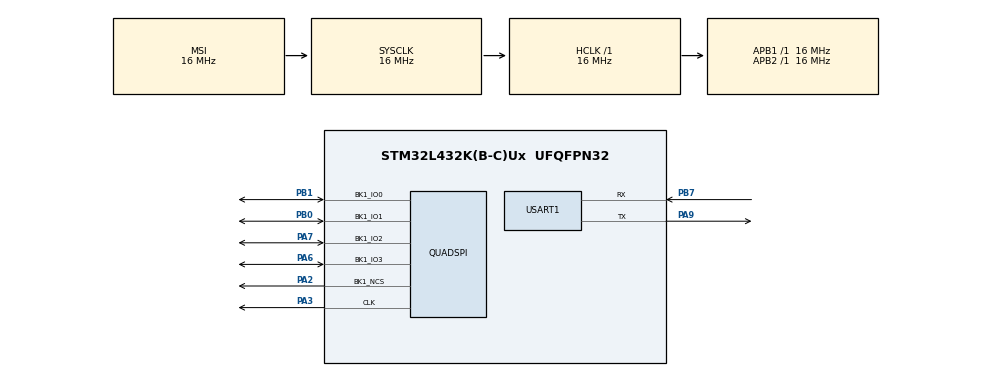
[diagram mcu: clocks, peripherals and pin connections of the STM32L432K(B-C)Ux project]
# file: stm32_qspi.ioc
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Mcu.Family=STM32L4
Mcu.Name=STM32L432K(B-C)Ux
Mcu.Package=UFQFPN32
NVIC.PriorityGroup=NVIC_PRIORITYGROUP_4
NVIC.USART1_IRQn=true\:0\:0\:false\:false\:true\:true\:true
PA2.Mode=Single Bank 1
PA2.Signal=QUADSPI_BK1_NCS
PA3.Mode=Single Bank 1
PA3.Signal=QUADSPI_CLK
PA6.Mode=Single Bank 1
PA6.Signal=QUADSPI_BK1_IO3
PA7.Mode=Single Bank 1
PA7.Signal=QUADSPI_BK1_IO2
PA9.Mode=Asynchronous
PA9.Signal=USART1_TX
PB0.Mode=Single Bank 1
PB0.Signal=QUADSPI_BK1_IO1
PB1.Mode=Single Bank 1
PB1.Signal=QUADSPI_BK1_IO0
PB7.Mode=Asynchronous
PB7.Signal=USART1_RX
PC14-OSC32_IN\ (PC14).Mode=LSE-External-Oscillator
PC14-OSC32_IN\ (PC14).Signal=RCC_OSC32_IN
PC15-OSC32_OUT\ (PC15).Mode=LSE-External-Oscillator
PC15-OSC32_OUT\ (PC15).Signal=RCC_OSC32_OUT
ProjectManager.HeapSize=0x200
ProjectManager.StackSize=0x400
ProjectManager.TargetToolchain=TrueSTUDIO
QUADSPI.ChipSelectHighTime=QSPI_CS_HIGH_TIME_2_CYCLE
QUADSPI.ClockPrescaler=1
QUADSPI.FifoThreshold=4
QUADSPI.FlashSize=23
RCC.ADCFreq_Value=64000000
RCC.AHBFreq_Value=16000000
RCC.APB1Freq_Value=16000000
RCC.APB1TimFreq_Value=16000000
RCC.APB2Freq_Value=16000000
RCC.APB2TimFreq_Value=16000000
RCC.CortexFreq_Value=16000000
RCC.HCLKFreq_Value=16000000
RCC.HSE_VALUE=8000000
RCC.HSI48_VALUE=48000000
RCC.HSI_VALUE=16000000
RCC.MSIClockRange=RCC_MSIRANGE_8
RCC.MSI_VALUE=16000000
RCC.PLLSourceVirtual=RCC_PLLSOURCE_HSI
RCC.SYSCLKFreq_VALUE=16000000
RCC.USBFreq_Value=64000000
RCC.VCOOutputFreq_Value=128000000
USART1.VirtualMode-Asynchronous=VM_ASYNC
board=custom

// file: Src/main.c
/* USER CODE BEGIN Header */
/**
  ******************************************************************************
  * @file           : main.c
  * @brief          : Main program body
  ******************************************************************************
  * @attention
  *
  * <h2><center>&copy; Copyright (c) 2020 STMicroelectronics.
  * All rights reserved.</center></h2>
  *
  * This software component is licensed by ST under BSD 3-Clause license,
  * the "License"; You may not use this file except in compliance with the
  * License. You may obtain a copy of the License at:
  *                        opensource.org/licenses/BSD-3-Clause
  *
  ******************************************************************************
  */
/* USER CODE END Header */

#include "main.h"

/* USER CODE BEGIN Includes */
#include "stdio.h"
#include "w25qxx.h"
#include "string.h"
#include "gm25qxx.h"
/* USER CODE END Includes */

QSPI_HandleTypeDef hqspi;

UART_HandleTypeDef huart1;

/* USER CODE BEGIN PV */
QSPI_CommandTypeDef s_command;
uint8_t pData[3];

#define QSPI_TEST_DATA_SIZE 0x100
uint8_t wData[QSPI_TEST_DATA_SIZE];
uint8_t rData[QSPI_TEST_DATA_SIZE];
/* USER CODE END PV */

void SystemClock_Config(void);
static void MX_GPIO_Init(void);
static void MX_USART1_UART_Init(void);
static void MX_QUADSPI_Init(void);

/* USER CODE BEGIN 0 */

#ifdef __GNUC__
  /* With GCC/RAISONANCE, small printf (option LD Linker->Libraries->Small printf
     set to 'Yes') calls __io_putchar() */
  #define PUTCHAR_PROTOTYPE int __io_putchar(int ch)
#else
  #define PUTCHAR_PROTOTYPE int fputc(int ch, FILE *f)
#endif /* __GNUC__ */
/**
  * @brief  Retargets the C library printf function to the USART.
  * @param  None
  * @retval None
  */
PUTCHAR_PROTOTYPE
{
  /* Place your implementation of fputc here */
  /* e.g. write a character to the EVAL_COM1 and Loop until the end of transmission */
  HAL_UART_Transmit(&huart1, (uint8_t *)&ch, 1, 0xFFFF);

  return ch;
}
/* USER CODE END 0 */

int main(void)
{

  /* MCU Configuration--------------------------------------------------------*/

  /* Reset of all peripherals, Initializes the Flash interface and the Systick. */
  HAL_Init();

  /* Configure the system clock */
  SystemClock_Config();

  /* Initialize all configured peripherals */
  MX_GPIO_Init();
  MX_USART1_UART_Init();
  MX_QUADSPI_Init();
  /* USER CODE BEGIN 2 */
  printf("\n\rQSPI Flash Example \n");
//  W25QXX_Init();
  gm25qxx_init();

  /* USER CODE END 2 */

  /* Infinite loop */
  while (1)
  {

    /* USER CODE BEGIN 3 */
		//printf("Uart Test\n");
		HAL_Delay(1000);
  }
  /* USER CODE END 3 */
}

void SystemClock_Config(void)
{
  RCC_OscInitTypeDef RCC_OscInitStruct = {0};
  RCC_ClkInitTypeDef RCC_ClkInitStruct = {0};
  RCC_PeriphCLKInitTypeDef PeriphClkInit = {0};

  /** Configure LSE Drive Capability
  */
  HAL_PWR_EnableBkUpAccess();
  __HAL_RCC_LSEDRIVE_CONFIG(RCC_LSEDRIVE_LOW);
  /** Initializes the CPU, AHB and APB busses clocks
  */
  RCC_OscInitStruct.OscillatorType = RCC_OSCILLATORTYPE_LSE|RCC_OSCILLATORTYPE_MSI;
  RCC_OscInitStruct.LSEState = RCC_LSE_ON;
  RCC_OscInitStruct.MSIState = RCC_MSI_ON;
  RCC_OscInitStruct.MSICalibrationValue = 0;
  RCC_OscInitStruct.MSIClockRange = RCC_MSIRANGE_8;
  RCC_OscInitStruct.PLL.PLLState = RCC_PLL_NONE;
  if (HAL_RCC_OscConfig(&RCC_OscInitStruct) != HAL_OK)
  {
    Error_Handler();
  }
  /** Initializes the CPU, AHB and APB busses clocks
  */
  RCC_ClkInitStruct.ClockType = RCC_CLOCKTYPE_HCLK|RCC_CLOCKTYPE_SYSCLK
                              |RCC_CLOCKTYPE_PCLK1|RCC_CLOCKTYPE_PCLK2;
  RCC_ClkInitStruct.SYSCLKSource = RCC_SYSCLKSOURCE_MSI;
  RCC_ClkInitStruct.AHBCLKDivider = RCC_SYSCLK_DIV1;
  RCC_ClkInitStruct.APB1CLKDivider = RCC_HCLK_DIV1;
  RCC_ClkInitStruct.APB2CLKDivider = RCC_HCLK_DIV1;

  if (HAL_RCC_ClockConfig(&RCC_ClkInitStruct, FLASH_LATENCY_0) != HAL_OK)
  {
    Error_Handler();
  }
  PeriphClkInit.PeriphClockSelection = RCC_PERIPHCLK_USART1;
  PeriphClkInit.Usart1ClockSelection = RCC_USART1CLKSOURCE_PCLK2;
  if (HAL_RCCEx_PeriphCLKConfig(&PeriphClkInit) != HAL_OK)
  {
    Error_Handler();
  }
  /** Configure the main internal regulator output voltage
  */
  if (HAL_PWREx_ControlVoltageScaling(PWR_REGULATOR_VOLTAGE_SCALE1) != HAL_OK)
  {
    Error_Handler();
  }
  /** Enable MSI Auto calibration
  */
  HAL_RCCEx_EnableMSIPLLMode();
}

static void MX_QUADSPI_Init(void)
{

  /* QUADSPI parameter configuration*/
  hqspi.Instance = QUADSPI;
  hqspi.Init.ClockPrescaler = 1;
  hqspi.Init.FifoThreshold = 4;
  hqspi.Init.SampleShifting = QSPI_SAMPLE_SHIFTING_NONE;
  hqspi.Init.FlashSize = 23;
  hqspi.Init.ChipSelectHighTime = QSPI_CS_HIGH_TIME_2_CYCLE;
  hqspi.Init.ClockMode = QSPI_CLOCK_MODE_0;
  hqspi.Init.FlashID = QSPI_FLASH_ID_1;
  hqspi.Init.DualFlash = QSPI_DUALFLASH_DISABLE;
  if (HAL_QSPI_Init(&hqspi) != HAL_OK)
  {
    Error_Handler();
  }

}

static void MX_USART1_UART_Init(void)
{

  huart1.Instance = USART1;
  huart1.Init.BaudRate = 115200;
  huart1.Init.WordLength = UART_WORDLENGTH_8B;
  huart1.Init.StopBits = UART_STOPBITS_1;
  huart1.Init.Parity = UART_PARITY_NONE;
  huart1.Init.Mode = UART_MODE_TX_RX;
  huart1.Init.HwFlowCtl = UART_HWCONTROL_NONE;
  huart1.Init.OverSampling = UART_OVERSAMPLING_16;
  huart1.Init.OneBitSampling = UART_ONE_BIT_SAMPLE_DISABLE;
  huart1.AdvancedInit.AdvFeatureInit = UART_ADVFEATURE_NO_INIT;
  if (HAL_UART_Init(&huart1) != HAL_OK)
  {
    Error_Handler();
  }

}

static void MX_GPIO_Init(void)
{

  /* GPIO Ports Clock Enable */
  __HAL_RCC_GPIOC_CLK_ENABLE();
  __HAL_RCC_GPIOA_CLK_ENABLE();
  __HAL_RCC_GPIOB_CLK_ENABLE();

}

void Error_Handler(void)
{
}

/************************ (C) COPYRIGHT STMicroelectronics *****END OF FILE****/
